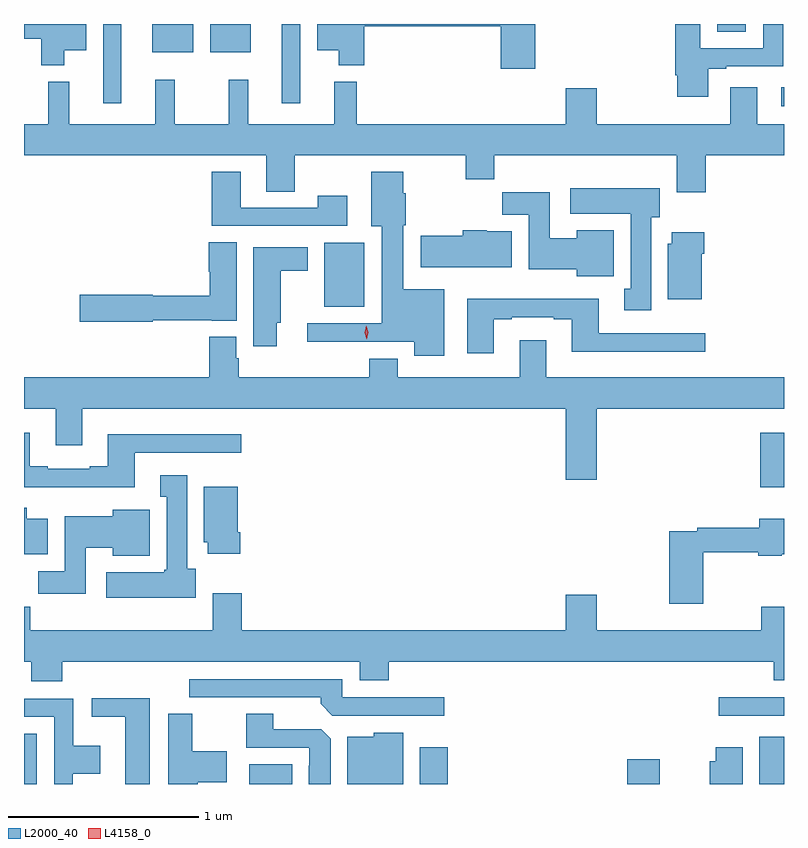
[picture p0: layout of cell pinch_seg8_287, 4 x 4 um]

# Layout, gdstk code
import gdstk
lib = gdstk.Library(unit=1e-6, precision=1e-09)
def R(c, l, rs):  # rectangles x0, y0, x1, y1
    for r in rs: c.add(gdstk.rectangle(r[:2], r[2:], *l))
def P(c, l, *ps):  # polygons
    for p in ps: c.add(gdstk.Polygon(p, *l))
L2000_40 = (2000, 40)
L4158_0 = (4158, 0)

pinch_seg8_287 = lib.new_cell('pinch_seg8_287')
R(pinch_seg8_287, L2000_40, [(509.809,1143.828,509.875,1144.093), (510.995,1143.828,511.222,1143.931), (511.892,1143.828,512.039,1144.021), (512.984,1143.828,513.154,1143.958), (513.68,1143.828,513.809,1144.078), (513.465,1144.188,513.809,1144.284), (513.683,1145.39,513.809,1145.677), (511.388,1146.341,511.6,1146.676), (513.795,1147.394,513.809,1147.495), (510.225,1147.41,510.322,1147.828), (511.166,1147.41,511.263,1147.828), (510.485,1147.679,510.7,1147.828), (510.788,1147.679,511.003,1147.828), (513.458,1147.786,513.607,1147.828)])
P(pinch_seg8_287, L2000_40, [(512.501,1147.828),(511.352,1147.828),(511.352,1147.691),(511.466,1147.691),(511.466,1147.61),(511.601,1147.61),(511.601,1147.816),(512.318,1147.816),(512.318,1147.593),(512.501,1147.593)],
  [(510.022,1147.691),(510.136,1147.691),(510.136,1147.828),(509.809,1147.828),(509.809,1147.75),(509.9,1147.75),(509.9,1147.61),(510.022,1147.61)],
  [(513.409,1147.593),(513.505,1147.593),(513.505,1147.605),(513.805,1147.605),(513.805,1147.828),(513.701,1147.828),(513.701,1147.701),(513.367,1147.701),(513.367,1147.828),(513.236,1147.828),(513.236,1147.558),(513.248,1147.558),(513.248,1147.446),(513.409,1147.446)],
  [(511.085,1146.946),(511.233,1146.946),(511.233,1147.136),(512.134,1147.136),(512.134,1147.012),(512.285,1147.012),(512.285,1147.136),(513.245,1147.136),(513.245,1146.942),(513.398,1146.942),(513.398,1147.136),(513.809,1147.136),(513.809,1147.3),(513.667,1147.3),(513.667,1147.495),(513.527,1147.495),(513.527,1147.3),(512.824,1147.3),(512.824,1147.489),(512.66,1147.489),(512.66,1147.3),(511.559,1147.3),(511.559,1147.525),(511.442,1147.525),(511.442,1147.3),(510.989,1147.3),(510.989,1147.534),(510.886,1147.534),(510.886,1147.3),(510.602,1147.3),(510.602,1147.534),(510.5,1147.534),(510.5,1147.3),(510.047,1147.3),(510.047,1147.525),(509.937,1147.525),(509.937,1147.3),(509.809,1147.3),(509.809,1147.136),(511.085,1147.136)],
  [(512.02,1146.433),(511.804,1146.433),(511.804,1146.768),(511.817,1146.768),(511.817,1146.938),(511.804,1146.938),(511.804,1147.051),(511.637,1147.051),(511.637,1146.764),(511.691,1146.764),(511.691,1146.252),(511.299,1146.252),(511.299,1146.155),(511.541,1146.155),(511.541,1146.156),(511.862,1146.156),(511.862,1146.081),(512.02,1146.081)],
  [(511.51,1146.925),(511.354,1146.925),(511.354,1146.861),(510.949,1146.861),(510.949,1147.051),(510.797,1147.051),(510.797,1146.765),(511.51,1146.765)],
  [(513.109,1146.81),(513.154,1146.81),(513.154,1146.964),(512.685,1146.964),(512.685,1146.83),(513.002,1146.83),(513.002,1146.434),(512.969,1146.434),(512.969,1146.321),(513.109,1146.321)],
  [(512.914,1146.742),(512.717,1146.742),(512.717,1146.7),(512.575,1146.7),(512.575,1146.943),(512.326,1146.943),(512.326,1146.824),(512.465,1146.824),(512.465,1146.536),(512.717,1146.536),(512.717,1146.5),(512.914,1146.5)],
  [(512.377,1146.736),(512.244,1146.736),(512.244,1146.742),(512.119,1146.742),(512.119,1146.714),(511.896,1146.714),(511.896,1146.548),(512.377,1146.548)],
  [(513.376,1146.62),(513.389,1146.62),(513.389,1146.733),(513.218,1146.733),(513.218,1146.672),(513.197,1146.672),(513.197,1146.38),(513.376,1146.38)],
  [(510.486,1146.27),(510.798,1146.27),(510.798,1146.266),(510.928,1146.266),(510.928,1146.68),(510.782,1146.68),(510.782,1146.524),(510.787,1146.524),(510.787,1146.398),(510.486,1146.398),(510.486,1146.404),(510.102,1146.404),(510.102,1146.262),(510.486,1146.262)],
  [(511.138,1146.255),(511.159,1146.255),(511.159,1146.53),(511.303,1146.53),(511.303,1146.652),(511.016,1146.652),(511.016,1146.132),(511.138,1146.132)],
  [(512.281,1146.273),(512.377,1146.273),(512.377,1146.285),(512.597,1146.285),(512.597,1146.273),(512.693,1146.273),(512.693,1146.104),(513.394,1146.104),(513.394,1146.201),(512.833,1146.201),(512.833,1146.382),(512.141,1146.382),(512.141,1146.096),(512.281,1146.096)],
  [(512.824,1145.804),(513.809,1145.804),(513.809,1145.968),(512.557,1145.968),(512.557,1146.163),(512.417,1146.163),(512.417,1145.968),(511.777,1145.968),(511.777,1146.067),(511.625,1146.067),(511.625,1145.968),(510.938,1145.968),(510.938,1146.069),(510.925,1146.069),(510.925,1146.181),(510.785,1146.181),(510.785,1145.968),(509.809,1145.968),(509.809,1145.804),(509.975,1145.804),(509.975,1145.61),(510.115,1145.61),(510.115,1145.804),(512.66,1145.804),(512.66,1145.43),(512.824,1145.43)],
  [(510.391,1145.571),(510.952,1145.571),(510.952,1145.668),(510.251,1145.668),(510.251,1145.5),(510.155,1145.5),(510.155,1145.487),(509.935,1145.487),(509.935,1145.5),(509.839,1145.5),(509.839,1145.677),(509.809,1145.677),(509.809,1145.39),(510.391,1145.39)],
  [(510.712,1144.962),(510.667,1144.962),(510.667,1145.452),(510.527,1145.452),(510.527,1145.339),(510.56,1145.339),(510.56,1144.956),(510.547,1144.956),(510.547,1144.942),(510.243,1144.942),(510.243,1144.808),(510.712,1144.808)],
  [(510.947,1145.152),(510.934,1145.152),(510.934,1145.392),(510.755,1145.392),(510.755,1145.1),(510.776,1145.1),(510.776,1145.04),(510.947,1145.04)],
  [(509.935,1145.224),(509.824,1145.224),(509.824,1145.281),(509.809,1145.281),(509.809,1145.036),(509.935,1145.036)],
  [(510.133,1145.072),(510.275,1145.072),(510.275,1145.03),(510.472,1145.03),(510.472,1145.272),(510.275,1145.272),(510.275,1145.236),(510.023,1145.236),(510.023,1144.948),(509.884,1144.948),(509.884,1144.83),(510.133,1144.83)],
  [(513.384,1145.049),(513.673,1145.049),(513.673,1145.03),(513.798,1145.03),(513.798,1145.036),(513.809,1145.036),(513.809,1145.224),(513.68,1145.224),(513.68,1145.177),(513.352,1145.177),(513.352,1145.157),(513.206,1145.157),(513.206,1144.776),(513.384,1144.776)],
  [(513.688,1144.636),(512.824,1144.636),(512.824,1144.825),(512.66,1144.825),(512.66,1144.636),(510.956,1144.636),(510.956,1144.831),(510.803,1144.831),(510.803,1144.636),(509.843,1144.636),(509.843,1144.76),(509.809,1144.76),(509.809,1144.472),(509.846,1144.472),(509.846,1144.37),(510.011,1144.37),(510.011,1144.472),(511.577,1144.472),(511.577,1144.373),(511.73,1144.373),(511.73,1144.472),(513.755,1144.472),(513.755,1144.373),(513.809,1144.373),(513.809,1144.76),(513.688,1144.76)],
  [(512.02,1144.284),(511.485,1144.284),(511.485,1144.38),(510.678,1144.38),(510.678,1144.284),(511.37,1144.284),(511.37,1144.25),(511.431,1144.188),(512.02,1144.188)],
  [(510.472,1144.28),(510.165,1144.28),(510.165,1144.181),(510.341,1144.181),(510.341,1143.828),(510.472,1143.828)],
  [(510.065,1143.883),(510.211,1143.883),(510.211,1144.03),(510.068,1144.03),(510.068,1144.278),(509.809,1144.278),(509.809,1144.182),(509.967,1144.182),(509.967,1143.828),(510.065,1143.828)],
  [(511.423,1144.067),(511.374,1144.116),(511.12,1144.116),(511.12,1144.199),(510.98,1144.199),(510.98,1144.02),(511.311,1144.02),(511.311,1143.923),(511.307,1143.923),(511.307,1143.828),(511.423,1143.828)],
  [(510.724,1143.838),(510.877,1143.838),(510.877,1144),(510.694,1144),(510.694,1144.198),(510.569,1144.198),(510.569,1143.828),(510.724,1143.828)],
  [(511.804,1144.099),(511.65,1144.099),(511.65,1144.078),(511.511,1144.078),(511.511,1143.828),(511.804,1143.828)],
  [(513.592,1144.021),(513.451,1144.021),(513.451,1143.949),(513.419,1143.949),(513.419,1143.828),(513.592,1143.828)])
P(pinch_seg8_287, L4158_0, [(511.612,1146.168),(511.612,1146.169),(511.602,1146.204),(511.611,1146.24),(511.611,1146.24),(511.611,1146.24),(511.622,1146.205),(511.613,1146.169)])

lib.write_gds('pinch_seg8_287.gds')
